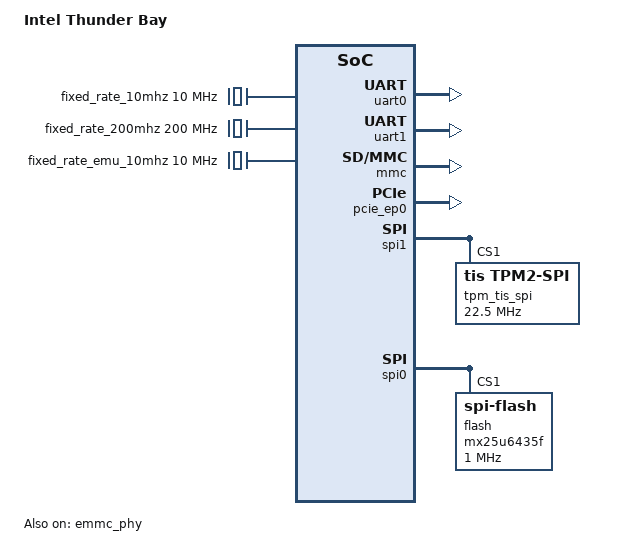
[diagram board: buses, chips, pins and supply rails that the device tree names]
/*
 * Device tree describing the Thunder Bay Platform configuration
 * containing a single Arm core.
 *
 * Copyright (c) 2020 Intel Corporation.
 *
 * SPDX-License-Identifier: GPL-2.0
 *
 */

/dts-v1/;

#include "thb-common_u-boot.dtsi"

/ {
	model = "Intel Thunder Bay";
	compatible = "intel,thunderbay:u-boot";

	#address-cells = <2>;
	#size-cells = <2>;

	aliases {
		serial0 = &uart0;
		serial1 = &uart1;
		spi0 = &spi0;
		spi1 = &spi1;
		gpio0 = &gpio0;
	};

	aliases {
		mmc0 = &mmc;
	};

	chosen {
		stdout-path = "serial0:9600n8";
	};

	reserved-memory {
		#address-cells = <2>;
		#size-cells = <2>;
		ranges;

		csram_reserved {
			compatible = "shared-dma-pool";
			reg = <0x18 80000000 0x0 0x01800000>;
			no-map;
		};
	};
#if CONFIG_THUNDERBAY_EVT2_ENABLE
	sysmem@1010000000 {
		compatible = "mmio-sram";
		#address-cells = <2>;
		#size-cells = <2>;
		reg = <0x10 0x10000000 0x0 0x2000000>;
		ranges = <0 0x0 0x10 0x10000000 0x0 0x2000000>;
#else
	sysmem@1008000000 {
		compatible = "mmio-sram";
		#address-cells = <2>;
		#size-cells = <2>;
		reg = <0x10 0x08000000 0x0 0x2000000>;
		ranges = <0 0x0 0x10 0x08000000 0x0 0x2000000>;
#endif
		/*
		* Allocate 1MB at fixed location for shared memory between
		* non-secure world and BL31 to be used for SCMI.
		*/
		scmi_sec_shmem: scmi_sec_shmem@0 {
			compatible = "arm,scmi-shmem";
			reg = <0x0 0x0 0x0 0x100000>;
			pool;
		};

		/*
		* Allocate some space in shared area for VPU IPC driver
		* to place the X509 certificate.
		*/
		vpu_x509_reserved: vpu_x509_reserved@100000 {
			compatible = "shared-dma-pool";
			reg = <0x0 0x100000 0x0 0x100000>;
			no-map;
		};

		/* Allocate the rest of shared memory for general use.
		 * VPU x509 certificate area will occupy/allocated
		 * from the below region by the IPC driver. So, optee
		 * needs to know the region for the VPU authentication
		 * service TA. https://hsdes.intel.com/resource/16011061170
		 */
		general_sec_shmem: general_sec_shmem@200000 {
			reg = <0x0 0x200000 0x0 0x600000>;
		};

		optee_tee_shmem: optee_tee_shmem@800000 {
			reg = <0x0 0x800000 0x0 0x1800000>;
		};
	};

	/*
	* For U-Boot to reference the general use shared memory
	* area, we use this node.
	*/
	general_sec_shmem {
		shmem = <&general_sec_shmem>;
	};

        fixed_rate_10mhz: fixed_rate_10mhz {
                compatible = "thb-fixed-clock";
                #clock-cells = <0>;
                clock-frequency = <10000000>;
                clock-output-names = "dummy_clk";
                u-boot,dm-pre-reloc;
        };

        fixed_rate_200mhz: fixed_rate_200mhz {
                compatible = "thb-fixed-clock";
                #clock-cells = <0>;
                clock-frequency = <200000000>;
                clock-output-names = "dummy_clk";
                u-boot,dm-pre-reloc;
        };

	fixed_rate_emu_10mhz: fixed_rate_emu_10mhz {
		compatible = "fixed-clock";
		#clock-cells = <0>;
		clock-frequency = <10000000>;
		clock-output-names = "dummy_clk";
		u-boot,dm-pre-reloc;
	};
};

&uart0 {
	status = "okay";
};

&uart1 {
	status = "okay";
};

&emmc_phy {
	status = "okay";
	clocks = <&fixed_rate_10mhz>;
};

&mmc {
	status = "okay";
	clocks = <&fixed_rate_200mhz>, <&fixed_rate_200mhz>;
	assigned-clocks = <&fixed_rate_200mhz>;
};

&pcie_ep0{
	status = "okay";
};

&ecdsa_engine {
	/* Use general secure-world shared memory. */
	shmem = <&general_sec_shmem>;
};

&xmss_engine {
	/* Use general secure-world shared memory. */
	shmem = <&general_sec_shmem>;
};

&gpio0 {
	status = "okay";
};

&spi1 {
	status = "okay";
        clocks = <&fixed_rate_emu_10mhz>;
	/* The dTPM will be reset upon platform reset,
	 * without additional individual SPI reset control on THB CRB and VV.
	 * The CS for VV is enabled in drivers/spi/designware_spi.c.
	 * May need to revisit to keep this in DTS for ease of control. CRB doesn't CS.
	 */
	/*cs-gpio = <&gpio0 45 0>;*/ /* This will be added post GPIO changes */

	tpm_tis_spi: slb9670@0 {
		compatible = "tis,tpm2-spi", "infineon,slb9670";
		spi-max-frequency = <22500000>;
		reg = <0x1>;
		/* U-Boot will enable fwTPM or dTPM at run-time */
		/*gpio-reset = <&gpio0 49 0>;*/
		status = "okay";
	};
};

&spi0 {
	status = "okay";
	clocks = <&fixed_rate_emu_10mhz>;
	/*cs-gpio = <&gpio0 19 0>;*/ /* This will be added post GPIO changes */

	flash: mx25u6435f {
		#address-cells = <1>;
		#size-cells = <1>;
		compatible = "spi-flash";
		spi-max-frequency = <1000000>;
		reg = <0x1>;
	};
};

